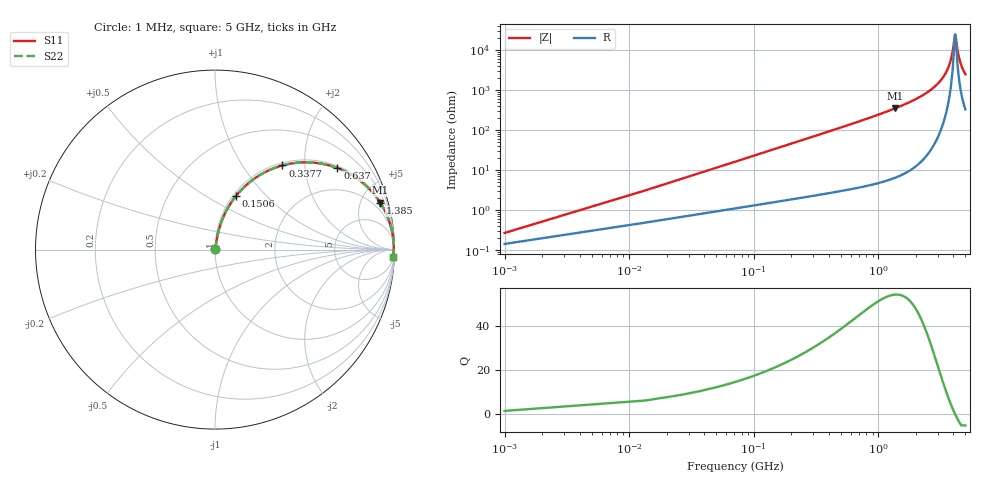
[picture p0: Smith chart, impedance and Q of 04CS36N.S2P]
! Coilcraft 0402CS-36N Chip Inductor
! 29 May 2002
# MHZ S MA R 50
!Freq  MagS11  AngS11  MagS21  AngS21  MagS12  AngS12  MagS22  AngS22
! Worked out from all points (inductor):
!   402 points, 1 MHz to 5 GHz, reference 50 ohm
!   read as one part in series: L = 36 nH near 25.94 MHz
!   highest Q = 54.3 at 1.373 GHz (marker M1), where L = 40.4 nH
!   self-resonance near 4.141 GHz
!   S11 on the Smith chart (normalised r, x): 1 MHz: 1.00, +0.00; 150.6 MHz: 1.03, +0.68; 337.7 MHz: 1.05, +1.54; 637 MHz: 1.07, +2.95; 1.385 GHz: 1.13, +7.05; 5 GHz: 7, -49
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1  0.002667 57.8  0.9986 -0.1  0.9986 -0.1  0.002667 57.8
38.41  0.08624 79.8  0.9883 -4.9  0.9883 -4.9  0.08624 79.8
50.88  0.1137 78.9  0.9844 -6.5  0.9844 -6.5  0.1137 78.9
88.29  0.194 75.3  0.9693 -11.2  0.9693 -11.2  0.194 75.3
150.64  0.3187 68.8  0.9331 -18.6  0.9331 -18.6  0.3187 68.8
237.93  0.4682 60.0  0.8665 -27.9  0.8665 -27.9  0.4682 60.0
337.69  0.6008 51.3  0.7809 -36.9  0.7809 -36.9  0.6008 51.3
636.97  0.8191 33.7  0.5549 -55.0  0.5549 -55.0  0.8191 33.7
836.49  0.8846 26.6  0.4484 -62.2  0.4484 -62.2  0.8846 26.6
1372.7  0.9566 15.9  0.2742 -73.0  0.2742 -73.0  0.9566 15.9
1385.17  0.9575 15.7  0.2714 -73.2  0.2714 -73.2  0.9575 15.7
1671.98  0.9725 12.4  0.2153 -76.5  0.2153 -76.5  0.9725 12.4
2507.47  0.9907 6.4  0.1107 -82.0  0.1107 -82.0  0.9907 6.4
3342.96  0.9956 2.6  0.04608 -83.2  0.04608 -83.2  0.9956 2.6
3779.41  0.9961 1.1  0.01995 -78.1  0.01995 -78.1  0.9961 1.1
3941.52  0.9961 0.6  0.01134 -69.4  0.01134 -69.4  0.9961 0.6
4116.1  0.9959 0.1  0.004326 -19.5  0.004326 -19.5  0.9959 0.1
4178.45  0.9958 -0.1  0.0045 22.7  0.0045 22.7  0.9958 -0.1
4328.09  0.9956 -0.5  0.01018 64.3  0.01018 64.3  0.9956 -0.5
4490.2  0.9953 -1.0  0.01762 74.0  0.01762 74.0  0.9953 -1.0
4714.66  0.9948 -1.6  0.02784 78.3  0.02784 78.3  0.9948 -1.6
5000  0.9939 -2.3  0.04033 80.1  0.04033 80.1  0.9939 -2.3
